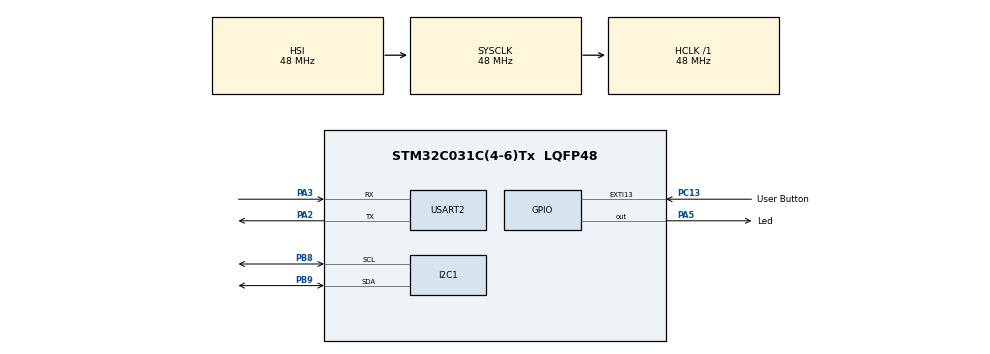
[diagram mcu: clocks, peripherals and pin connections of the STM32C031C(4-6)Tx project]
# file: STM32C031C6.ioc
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I2C1.Timing=0x20303E5D
Mcu.Family=STM32C0
Mcu.Name=STM32C031C(4-6)Tx
Mcu.Package=LQFP48
NVIC.EXTI4_15_IRQn=true\:0\:0\:false\:false\:true\:true\:true\:true
PA13.Mode=Serial_Wire
PA13.Signal=DEBUG_SWDIO
PA14-BOOT0.Mode=Serial_Wire
PA14-BOOT0.Signal=DEBUG_SWCLK
PA2.Mode=Asynchronous
PA2.Signal=USART2_TX
PA3.Mode=Asynchronous
PA3.Signal=USART2_RX
PA5.GPIO_Label=Led
PA5.GPIO_Speed=GPIO_SPEED_FREQ_VERY_HIGH
PA5.PinState=GPIO_PIN_SET
PA5.Signal=GPIO_Output
PB8.Mode=I2C
PB8.Signal=I2C1_SCL
PB9.Mode=I2C
PB9.Signal=I2C1_SDA
PC13.GPIO_Label=User Button
PC13.Signal=GPXTI13
PC14-OSCX_IN\ (PC14).Mode=LSE-External-Oscillator
PC14-OSCX_IN\ (PC14).Signal=RCC_OSCX_IN
PC15-OSCX_OUT\ (PC15).Mode=LSE-External-Oscillator
PC15-OSCX_OUT\ (PC15).Signal=RCC_OSCX_OUT
PF0-OSC_IN\ (PF0).Mode=HSE-External-Oscillator
PF0-OSC_IN\ (PF0).Signal=RCC_OSC_IN
PF1-OSC_OUT\ (PF1).Mode=HSE-External-Oscillator
PF1-OSC_OUT\ (PF1).Signal=RCC_OSC_OUT
ProjectManager.HeapSize=0x200
ProjectManager.StackSize=0x400
ProjectManager.TargetToolchain=STM32CubeIDE
RCC.ADCFreq_Value=48000000
RCC.AHBFreq_Value=48000000
RCC.CortexFreq_Value=48000000
RCC.EXTERNAL_CLOCK_VALUE=12288000
RCC.HCLKFreq_Value=48000000
RCC.HSE_VALUE=48000000
RCC.HSISYSCLKDivider=RCC_HSI_DIV1
RCC.HSI_VALUE=48000000
RCC.SYSCLKFreq_VALUE=48000000
USART2.VirtualMode-Asynchronous=VM_ASYNC
VP_CRC_VS_CRC.Mode=CRC_Activate
board=NUCLEO-C031C6

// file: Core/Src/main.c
/* USER CODE BEGIN Header */
/**
 ******************************************************************************
 * @file           : main.c
 * @brief          : Main program body
 ******************************************************************************
 * @attention
 *
 * Copyright (c) 2023 STMicroelectronics.
 * All rights reserved.
 *
 * This software is licensed under terms that can be found in the LICENSE file
 * in the root directory of this software component.
 * If no LICENSE file comes with this software, it is provided AS-IS.
 *
 ******************************************************************************
 */
/* USER CODE END Header */
#include "main.h"

/* USER CODE BEGIN Includes */
#include "EEPROM.h"
/* USER CODE END Includes */

CRC_HandleTypeDef hcrc;

I2C_HandleTypeDef hi2c1;

UART_HandleTypeDef huart2;

/* USER CODE BEGIN PV */
// Chip: BR24l16
// Processor STM32C031c6
/* USER CODE END PV */

void SystemClock_Config(void);
static void MX_GPIO_Init(void);
static void MX_I2C1_Init(void);
static void MX_USART2_UART_Init(void);
static void MX_CRC_Init(void);

/* USER CODE BEGIN 0 */
uint8_t Buffer[25] = { 0 };
uint8_t Space[] = " - ";
uint8_t StartMSG[] = "Starting I2C Scanning: \r\n";
uint8_t EndMSG[] = "Done! \r\n\r\n";
#define ADDR_WR_AT24CXX 0xA0 //写器件地�?�
#define ADDR_RD_AT24CXX 0xA1 //读器件地�?�
uint8_t toWrite1[] =
		"English is a WestGermanic language of the IndoEuropean language";
uint8_t toWrite2[] =
		" English is a WestGermanic language of the IndoEuropean language The STM32 family of 32-bit microcontrollers based on Arm Cortex";
uint8_t toWriteA[] = "Hello";
uint8_t toWriteB[] = "Hi";
uint8_t toWriteM[] = "Microcontroller is a compressed micro computer";
uint8_t toWriteL[] =
		"EEPROM stands for electrically erasable programmable readonly M";
uint8_t toRead1[50];
uint8_t toRead2[64];
uint8_t toReadA[5];
uint8_t toReadB[2];
uint8_t toReadM[64];
uint8_t toReadL[64];

uint8_t read_eeprom_reg(uint16_t addr) {
	uint8_t buffer[] = { addr };
	uint8_t value;
	while (HAL_I2C_GetState(&hi2c1) != HAL_I2C_STATE_READY) {

	}

	while (HAL_I2C_IsDeviceReady(&hi2c1, (uint16_t) (0x50 << 1), 3, 100)
			!= HAL_OK) {
	}
	while (HAL_I2C_Master_Transmit(&hi2c1, // i2c handle
			(uint16_t) (0x50 << 1), // i2c address, left aligned
			(uint8_t*) &buffer, // data to send
			2, // how many bytes - 16 bit register address = 2 bytes
			100)                    // timeout
	!= HAL_OK)            // result code
	{
		if (HAL_I2C_GetError(&hi2c1) != HAL_I2C_ERROR_AF) {

			Error_Handler();
		}
	}

	while (HAL_I2C_IsDeviceReady(&hi2c1, (uint16_t) (0x50 << 1), 3, 100)
			!= HAL_OK)
		;
	while (HAL_I2C_Master_Receive(&hi2c1, // i2c handle
			(uint16_t) (0x50 << 1),    // i2c address, left aligned
			(uint8_t*) &value, // pointer to address of where to store received data
			1,        // expecting one byte to be returned
			100)                    // timeout
	!= HAL_OK)                // result code
	{
		if (HAL_I2C_GetError(&hi2c1) != HAL_I2C_ERROR_AF) {

			Error_Handler();
		}
	}

	return value;

}

void write_eeprom_reg(uint16_t reg_addr, uint8_t value) {
	uint8_t d[3];

	d[0] = (reg_addr >> 8) & 0xFF; // high byte of 16-bit register address
	d[1] = (reg_addr) & 0xFF; // low byte of 16-bit register address
	d[2] = value;           // what value are we writing to the register

	while (HAL_I2C_IsDeviceReady(&hi2c1, (uint16_t) (0x50 << 1), 3, 100)
			!= HAL_OK)
		;
	if (HAL_I2C_Master_Transmit(&hi2c1, // i2c handle
			(uint16_t) (0x50 << 1), // i2c address, left aligned
			(uint8_t*) d, // pointer to the buffer containing the data
			sizeof(d), // how many bytes are we transmitting
			1000)                    // timeout value
	!= HAL_OK)                // result code
			{

		Error_Handler();
	} else {
	//	printf('Master transmit successful\r\n');
	}
}

/* USER CODE END 0 */

int main(void) {

	/* MCU Configuration--------------------------------------------------------*/

	/* Reset of all peripherals, Initializes the Flash interface and the Systick. */
	HAL_Init();

	/* Configure the system clock */
	SystemClock_Config();

	/* Initialize all configured peripherals */
	MX_GPIO_Init();
	MX_I2C1_Init();
	MX_USART2_UART_Init();
	MX_CRC_Init();
	/* USER CODE BEGIN 2 */

	uint32_t Temperature = 32;
	uint32_t Temperature_R = 0;

	unsigned char One = 0;

//	for (uint8_t i = 0; i < sizeof(toWrite1)-1; i++) {
//		//write_eeprom_reg(i, toWrite1[i]);
//
//
//	}
	HAL_I2C_Mem_Write(&hi2c1, 0x50 << 1, 0, I2C_MEMADD_SIZE_16BIT, (uint8_t*) &toWrite2, sizeof(toWrite2), 100);
	HAL_Delay(10);

	HAL_I2C_Mem_Read(&hi2c1, 0x50 << 1, 0, I2C_MEMADD_SIZE_16BIT, (uint8_t*) &Temperature_R, sizeof(Temperature), 100);

	for (uint8_t i = 0; i < 128; i++) {
		HAL_I2C_Mem_Read(&hi2c1, 0x50 << 1, i, I2C_MEMADD_SIZE_16BIT, (uint8_t*) &One, sizeof(One), 100);
		printf(" %1d",One);
		sprintf(Buffer, "%c", One);
		HAL_UART_Transmit(&huart2, Buffer, sizeof(One), 10000);
	}

	/* USER CODE END 2 */

	/* Infinite loop */
	/* USER CODE BEGIN WHILE */
	while (1) {
		// Go through all possible i2c addresses

		HAL_Delay(10000);

		/* USER CODE END WHILE */

	}
}

void SystemClock_Config(void) {
	RCC_OscInitTypeDef RCC_OscInitStruct = { 0 };
	RCC_ClkInitTypeDef RCC_ClkInitStruct = { 0 };

	/** Initializes the RCC Oscillators according to the specified parameters
	 * in the RCC_OscInitTypeDef structure.
	 */
	RCC_OscInitStruct.OscillatorType = RCC_OSCILLATORTYPE_HSI;
	RCC_OscInitStruct.HSIState = RCC_HSI_ON;
	RCC_OscInitStruct.HSIDiv = RCC_HSI_DIV1;
	RCC_OscInitStruct.HSICalibrationValue = RCC_HSICALIBRATION_DEFAULT;
	if (HAL_RCC_OscConfig(&RCC_OscInitStruct) != HAL_OK) {
		Error_Handler();
	}

	/** Initializes the CPU, AHB and APB buses clocks
	 */
	RCC_ClkInitStruct.ClockType = RCC_CLOCKTYPE_HCLK | RCC_CLOCKTYPE_SYSCLK
			| RCC_CLOCKTYPE_PCLK1;
	RCC_ClkInitStruct.SYSCLKSource = RCC_SYSCLKSOURCE_HSI;
	RCC_ClkInitStruct.SYSCLKDivider = RCC_SYSCLK_DIV1;
	RCC_ClkInitStruct.AHBCLKDivider = RCC_HCLK_DIV1;
	RCC_ClkInitStruct.APB1CLKDivider = RCC_APB1_DIV1;

	if (HAL_RCC_ClockConfig(&RCC_ClkInitStruct, FLASH_LATENCY_1) != HAL_OK) {
		Error_Handler();
	}
}

static void MX_CRC_Init(void) {

	hcrc.Instance = CRC;
	hcrc.Init.DefaultPolynomialUse = DEFAULT_POLYNOMIAL_ENABLE;
	hcrc.Init.DefaultInitValueUse = DEFAULT_INIT_VALUE_ENABLE;
	hcrc.Init.InputDataInversionMode = CRC_INPUTDATA_INVERSION_NONE;
	hcrc.Init.OutputDataInversionMode = CRC_OUTPUTDATA_INVERSION_DISABLE;
	hcrc.InputDataFormat = CRC_INPUTDATA_FORMAT_BYTES;
	if (HAL_CRC_Init(&hcrc) != HAL_OK) {
		Error_Handler();
	}

}

static void MX_I2C1_Init(void) {

	hi2c1.Instance = I2C1;
	hi2c1.Init.Timing = 0x20303E5D;
	hi2c1.Init.OwnAddress1 = 0;
	hi2c1.Init.AddressingMode = I2C_ADDRESSINGMODE_7BIT;
	hi2c1.Init.DualAddressMode = I2C_DUALADDRESS_DISABLE;
	hi2c1.Init.OwnAddress2 = 0;
	hi2c1.Init.OwnAddress2Masks = I2C_OA2_NOMASK;
	hi2c1.Init.GeneralCallMode = I2C_GENERALCALL_DISABLE;
	hi2c1.Init.NoStretchMode = I2C_NOSTRETCH_DISABLE;
	if (HAL_I2C_Init(&hi2c1) != HAL_OK) {
		Error_Handler();
	}

	/** Configure Analogue filter
	 */
	if (HAL_I2CEx_ConfigAnalogFilter(&hi2c1, I2C_ANALOGFILTER_ENABLE)
			!= HAL_OK) {
		Error_Handler();
	}

	/** Configure Digital filter
	 */
	if (HAL_I2CEx_ConfigDigitalFilter(&hi2c1, 0) != HAL_OK) {
		Error_Handler();
	}

}

static void MX_USART2_UART_Init(void) {

	huart2.Instance = USART2;
	huart2.Init.BaudRate = 115200;
	huart2.Init.WordLength = UART_WORDLENGTH_8B;
	huart2.Init.StopBits = UART_STOPBITS_1;
	huart2.Init.Parity = UART_PARITY_NONE;
	huart2.Init.Mode = UART_MODE_TX_RX;
	huart2.Init.HwFlowCtl = UART_HWCONTROL_NONE;
	huart2.Init.OverSampling = UART_OVERSAMPLING_16;
	huart2.Init.OneBitSampling = UART_ONE_BIT_SAMPLE_DISABLE;
	huart2.Init.ClockPrescaler = UART_PRESCALER_DIV1;
	huart2.AdvancedInit.AdvFeatureInit = UART_ADVFEATURE_NO_INIT;
	if (HAL_UART_Init(&huart2) != HAL_OK) {
		Error_Handler();
	}

}

static void MX_GPIO_Init(void) {
	GPIO_InitTypeDef GPIO_InitStruct = { 0 };

	/* GPIO Ports Clock Enable */
	__HAL_RCC_GPIOC_CLK_ENABLE();
	__HAL_RCC_GPIOF_CLK_ENABLE();
	__HAL_RCC_GPIOA_CLK_ENABLE();
	__HAL_RCC_GPIOB_CLK_ENABLE();

	/*Configure GPIO pin Output Level */
	HAL_GPIO_WritePin(Led_GPIO_Port, Led_Pin, GPIO_PIN_SET);

	/*Configure GPIO pin : User_Button_Pin */
	GPIO_InitStruct.Pin = User_Button_Pin;
	GPIO_InitStruct.Mode = GPIO_MODE_IT_RISING;
	GPIO_InitStruct.Pull = GPIO_NOPULL;
	HAL_GPIO_Init(User_Button_GPIO_Port, &GPIO_InitStruct);

	/*Configure GPIO pin : Led_Pin */
	GPIO_InitStruct.Pin = Led_Pin;
	GPIO_InitStruct.Mode = GPIO_MODE_OUTPUT_PP;
	GPIO_InitStruct.Pull = GPIO_NOPULL;
	GPIO_InitStruct.Speed = GPIO_SPEED_FREQ_VERY_HIGH;
	HAL_GPIO_Init(Led_GPIO_Port, &GPIO_InitStruct);

	/* EXTI interrupt init*/
	HAL_NVIC_SetPriority(EXTI4_15_IRQn, 0, 0);
	HAL_NVIC_EnableIRQ(EXTI4_15_IRQn);

}

void Error_Handler(void) {
	__disable_irq();
	while (1) {
	}
}
